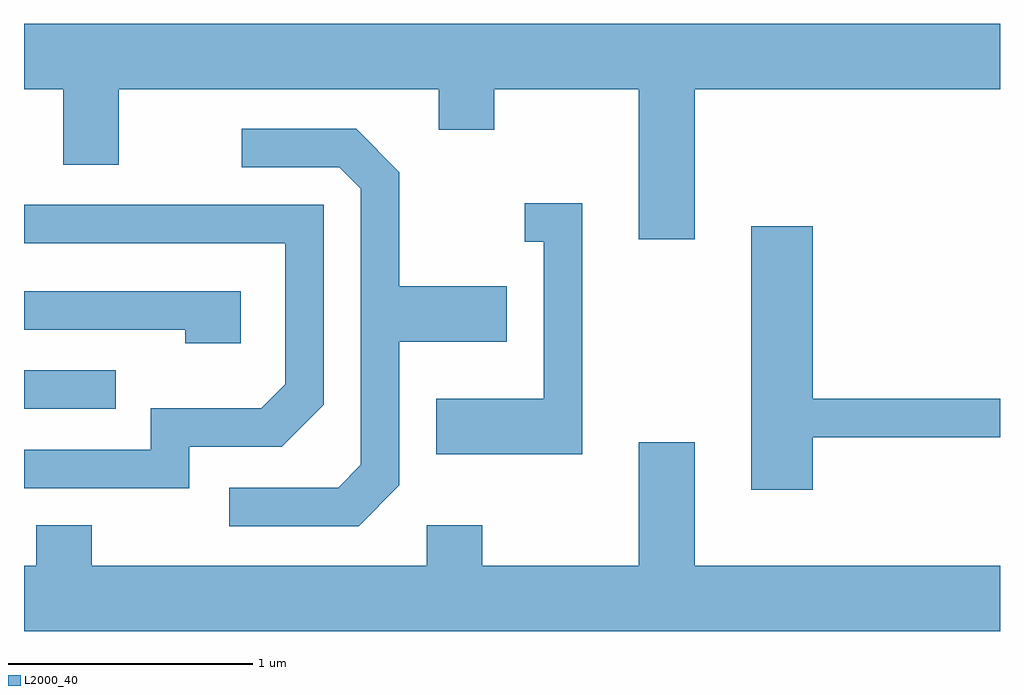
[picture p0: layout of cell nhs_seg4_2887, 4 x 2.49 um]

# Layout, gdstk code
import gdstk
lib = gdstk.Library(unit=1e-6, precision=1e-09)
def R(c, l, rs):  # rectangles x0, y0, x1, y1
    for r in rs: c.add(gdstk.rectangle(r[:2], r[2:], *l))
def P(c, l, *ps):  # polygons
    for p in ps: c.add(gdstk.Polygon(p, *l))
L2000_40 = (2000, 40)

nhs_seg4_2887 = lib.new_cell('nhs_seg4_2887')
R(nhs_seg4_2887, L2000_40, [(269.611,1317.846,269.988,1318.004)])
P(nhs_seg4_2887, L2000_40, [(272.359,1319.156),(273.611,1319.156),(273.611,1319.424),(269.611,1319.424),(269.611,1319.156),(269.771,1319.156),(269.771,1318.846),(269.999,1318.846),(269.999,1319.156),(271.311,1319.156),(271.311,1318.991),(271.539,1318.991),(271.539,1319.156),(272.131,1319.156),(272.131,1318.541),(272.359,1318.541)],
  [(271.149,1317.534),(271.149,1318.121),(271.589,1318.121),(271.589,1318.349),(271.149,1318.349),(271.149,1318.817),(270.972,1318.994),(270.503,1318.994),(270.503,1318.836),(270.904,1318.836),(270.991,1318.749),(270.991,1317.617),(270.899,1317.524),(270.453,1317.524),(270.453,1317.366),(270.982,1317.366)],
  [(271.899,1318.689),(271.663,1318.689),(271.663,1318.531),(271.741,1318.531),(271.741,1317.889),(271.301,1317.889),(271.301,1317.661),(271.899,1317.661)],
  [(270.289,1317.691),(270.667,1317.691),(270.839,1317.864),(270.839,1318.684),(269.611,1318.684),(269.611,1318.526),(270.681,1318.526),(270.681,1317.947),(270.584,1317.849),(270.131,1317.849),(270.131,1317.679),(269.611,1317.679),(269.611,1317.521),(270.289,1317.521)],
  [(272.844,1317.731),(273.611,1317.731),(273.611,1317.889),(272.844,1317.889),(272.844,1318.594),(272.591,1318.594),(272.591,1317.516),(272.844,1317.516)],
  [(270.499,1318.329),(269.611,1318.329),(269.611,1318.171),(270.271,1318.171),(270.271,1318.116),(270.499,1318.116)],
  [(273.611,1317.204),(272.359,1317.204),(272.359,1317.709),(272.131,1317.709),(272.131,1317.204),(271.489,1317.204),(271.489,1317.369),(271.261,1317.369),(271.261,1317.204),(269.889,1317.204),(269.889,1317.369),(269.661,1317.369),(269.661,1317.204),(269.611,1317.204),(269.611,1316.936),(273.611,1316.936)])

lib.write_gds('nhs_seg4_2887.gds')
